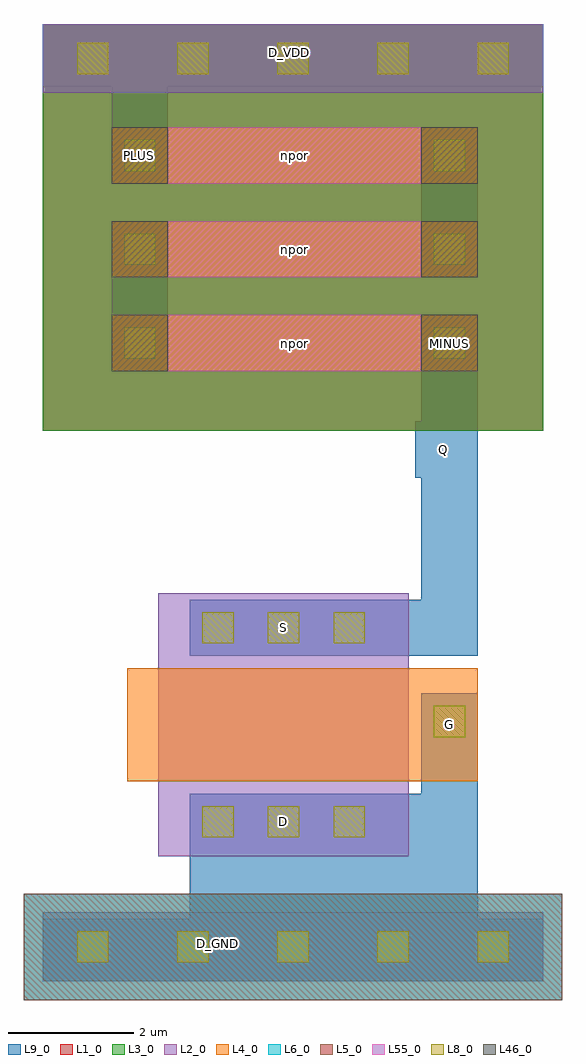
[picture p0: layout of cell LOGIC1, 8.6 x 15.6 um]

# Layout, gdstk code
import gdstk
lib = gdstk.Library(unit=1e-6, precision=1e-09)
def R(c, l, rs):  # rectangles x0, y0, x1, y1
    for r in rs: c.add(gdstk.rectangle(r[:2], r[2:], *l))
def A(c, l, x, y, w, h, nx, ny, dx, dy):  # array of equal rectangles
    R(c, l, [(x+i*dx, y+j*dy, x+i*dx+w, y+j*dy+h) for i in range(nx) for j in range(ny)])
def P(c, l, *ps):  # polygons
    for p in ps: c.add(gdstk.Polygon(p, *l))
L1_0 = (1, 0)
L2_0 = (2, 0)
L3_0 = (3, 0)
L4_0 = (4, 0)
L5_0 = (5, 0)
L6_0 = (6, 0)
L8_0 = (8, 0)
L9_0 = (9, 0)
L46_0 = (46, 0)
L55_0 = (55, 0)

logic1 = lib.new_cell('LOGIC1')
A(logic1, L1_0, 0, 8.8, 1.6, 6.5, 5, 1, 1.6, 0)
A(logic1, L2_0, 0, 0, 1.6, 1.1, 5, 2, 1.6, 14.2)
R(logic1, L2_0, [(1.85,2,5.85,3.1), (1.85,3.1,5.85,5.1), (1.85,5.1,5.85,6.2)])
A(logic1, L3_0, 0, 8.8, 1.6, 6.5, 5, 1, 1.6, 0)
A(logic1, L4_0, 2, 9.75, 4.05, 0.9, 1, 3, 0, 1.5)
R(logic1, L4_0, [(1.35,3.2,6.05,5), (1.35,3.2,1.85,5)])
A(logic1, L5_0, 1.6, -0.3, 1.6, 1.7, 3, 1, 1.6, 0)
R(logic1, L5_0, [(-0.3,-0.3,1.6,1.4), (6.4,-0.3,8.3,1.4)])
A(logic1, L6_0, 1.6, -0.3, 1.6, 1.7, 3, 1, 1.6, 0)
R(logic1, L6_0, [(-0.3,-0.3,1.6,1.4), (6.4,-0.3,8.3,1.4)])
A(logic1, L8_0, 0.55, 0.3, 0.5, 0.5, 5, 2, 1.6, 14.2)
A(logic1, L8_0, 2.55, 2.3, 0.5, 0.5, 3, 2, 1.05, 3.1)
A(logic1, L8_0, 1.3, 9.95, 0.5, 0.5, 1, 3, 0, 1.5)
A(logic1, L8_0, 6.25, 9.95, 0.5, 0.5, 1, 3, 0, 1.5)
R(logic1, L8_0, [(6.25,3.9,6.75,4.4)])
A(logic1, L9_0, 0, 0, 1.6, 1, 5, 2, 1.6, 14.3)
R(logic1, L9_0, [(0.75,0,7.35,1), (2.35,1,6.05,2.1), (2.35,2.1,5.35,3), (4.45,2.1,6.95,3), (2.35,5.2,5.35,6.1), (5.95,8.05,6.85,8.95), (1.1,12.75,2,15.2), (0.65,14.3,7.25,15.3)])
P(logic1, L9_0, [(4.45,5.2),(6.95,5.2),(6.95,10.65),(6.05,10.65),(6.05,6.1),(4.45,6.1)],
  [(5.4,0.1),(6.95,0.1),(6.95,4.5),(6.05,4.5),(6.05,1),(5.4,1)])
A(logic1, L46_0, 1.1, 9.75, 0.9, 0.9, 1, 3, 0, 1.5)
A(logic1, L46_0, 6.05, 9.75, 0.9, 0.9, 1, 3, 0, 1.5)
A(logic1, L55_0, 2, 9.75, 4.05, 0.9, 1, 3, 0, 1.5)
logic1.add(gdstk.FlexPath([(1.55,9.75),(1.55,10.65)], 0.9, ends="flush", simple_path=True, layer=4, datatype=0))  # L4_0
logic1.add(gdstk.FlexPath([(1.55,9.75),(1.55,10.65)], 0.9, ends="flush", simple_path=True, layer=9, datatype=0))  # L9_0
logic1.add(gdstk.FlexPath([(1.55,9.75),(1.55,10.65)], 0.9, ends="flush", simple_path=True, layer=9, datatype=0))  # L9_0
logic1.add(gdstk.FlexPath([(1.55,9.75),(1.55,10.65)], 0.9, ends="flush", simple_path=True, layer=9, datatype=0))  # L9_0
logic1.add(gdstk.FlexPath([(6.5,9.75),(6.5,10.65)], 0.9, ends="flush", simple_path=True, layer=4, datatype=0))  # L4_0
logic1.add(gdstk.FlexPath([(6.5,9.75),(6.5,10.65)], 0.9, ends="flush", simple_path=True, layer=9, datatype=0))  # L9_0
logic1.add(gdstk.FlexPath([(6.5,9.75),(6.5,10.65)], 0.9, ends="flush", simple_path=True, layer=9, datatype=0))  # L9_0
logic1.add(gdstk.FlexPath([(6.5,9.75),(6.5,10.65)], 0.9, ends="flush", simple_path=True, layer=9, datatype=0))  # L9_0
logic1.add(gdstk.FlexPath([(1.55,11.25),(1.55,12.15)], 0.9, ends="flush", simple_path=True, layer=4, datatype=0))  # L4_0
logic1.add(gdstk.FlexPath([(1.55,11.25),(1.55,12.15)], 0.9, ends="flush", simple_path=True, layer=9, datatype=0))  # L9_0
logic1.add(gdstk.FlexPath([(1.55,11.25),(1.55,12.15)], 0.9, ends="flush", simple_path=True, layer=9, datatype=0))  # L9_0
logic1.add(gdstk.FlexPath([(1.55,11.25),(1.55,12.15)], 0.9, ends="flush", simple_path=True, layer=9, datatype=0))  # L9_0
logic1.add(gdstk.FlexPath([(6.5,11.25),(6.5,12.15)], 0.9, ends="flush", simple_path=True, layer=4, datatype=0))  # L4_0
logic1.add(gdstk.FlexPath([(6.5,11.25),(6.5,12.15)], 0.9, ends="flush", simple_path=True, layer=9, datatype=0))  # L9_0
logic1.add(gdstk.FlexPath([(6.5,11.25),(6.5,12.15)], 0.9, ends="flush", simple_path=True, layer=9, datatype=0))  # L9_0
logic1.add(gdstk.FlexPath([(6.5,11.25),(6.5,12.15)], 0.9, ends="flush", simple_path=True, layer=9, datatype=0))  # L9_0
logic1.add(gdstk.FlexPath([(1.55,12.75),(1.55,13.65)], 0.9, ends="flush", simple_path=True, layer=4, datatype=0))  # L4_0
logic1.add(gdstk.FlexPath([(1.55,12.75),(1.55,13.65)], 0.9, ends="flush", simple_path=True, layer=9, datatype=0))  # L9_0
logic1.add(gdstk.FlexPath([(1.55,12.75),(1.55,13.65)], 0.9, ends="flush", simple_path=True, layer=9, datatype=0))  # L9_0
logic1.add(gdstk.FlexPath([(1.55,12.75),(1.55,13.65)], 0.9, ends="flush", simple_path=True, layer=9, datatype=0))  # L9_0
logic1.add(gdstk.FlexPath([(6.5,12.75),(6.5,13.65)], 0.9, ends="flush", simple_path=True, layer=4, datatype=0))  # L4_0
logic1.add(gdstk.FlexPath([(6.5,12.75),(6.5,13.65)], 0.9, ends="flush", simple_path=True, layer=9, datatype=0))  # L9_0
logic1.add(gdstk.FlexPath([(6.5,12.75),(6.5,13.65)], 0.9, ends="flush", simple_path=True, layer=9, datatype=0))  # L9_0
logic1.add(gdstk.FlexPath([(6.5,12.75),(6.5,13.65)], 0.9, ends="flush", simple_path=True, layer=9, datatype=0))  # L9_0
logic1.add(gdstk.FlexPath([(6.5,13.65),(6.5,11.25)], 0.9, ends="flush", simple_path=True, layer=9, datatype=0))  # L9_0
logic1.add(gdstk.FlexPath([(1.55,12.15),(1.55,9.75)], 0.9, ends="flush", simple_path=True, layer=9, datatype=0))  # L9_0
logic1.add(gdstk.FlexPath([(6.5,9.75),(6.5,10.65)], 0.9, ends="flush", simple_path=True, layer=9, datatype=0))  # L9_0
logic1.add(gdstk.FlexPath([(1.55,12.75),(1.55,13.65)], 0.9, ends="flush", simple_path=True, layer=9, datatype=0))  # L9_0
logic1.add(gdstk.FlexPath([(6.5,5),(6.5,3.2)], 0.9, ends="flush", simple_path=True, layer=4, datatype=0))  # L4_0
logic1.add(gdstk.FlexPath([(6.5,4.6),(6.5,3.6)], 0.9, ends="flush", simple_path=True, layer=9, datatype=0))  # L9_0
logic1.add(gdstk.Label('npor', (4.025,10.2), layer=55, texttype=0))
logic1.add(gdstk.Label('npor', (4.025,11.7), layer=55, texttype=0))
logic1.add(gdstk.Label('npor', (4.025,13.2), layer=55, texttype=0))
logic1.add(gdstk.Label('MINUS', (6.499,10.2), layer=9, texttype=0))
logic1.add(gdstk.Label('PLUS', (1.549,13.2), layer=9, texttype=0))
logic1.add(gdstk.Label('G', (6.502,4.1), layer=9, texttype=0))
logic1.add(gdstk.Label('S', (3.851,5.651), layer=9, texttype=0))
logic1.add(gdstk.Label('D', (3.851,2.551), layer=9, texttype=0))
logic1.add(gdstk.Label('D_GND', (2.8,0.6), layer=50, texttype=0))
logic1.add(gdstk.Label('D_VDD', (3.95,14.85), layer=50, texttype=0))
logic1.add(gdstk.Label('Q', (6.4,8.5), layer=50, texttype=0))

lib.write_gds('LOGIC1.gds')
